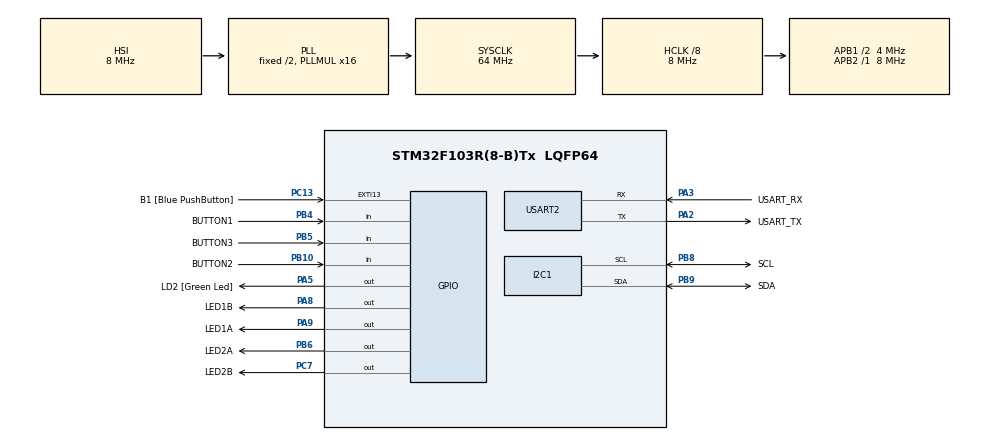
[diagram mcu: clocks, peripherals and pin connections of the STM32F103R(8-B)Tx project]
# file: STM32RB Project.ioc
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Mcu.Family=STM32F1
Mcu.Name=STM32F103R(8-B)Tx
Mcu.Package=LQFP64
NVIC.EXTI15_10_IRQn=true\:0\:0\:false\:false\:true\:true\:true
NVIC.I2C1_ER_IRQn=true\:0\:0\:false\:false\:true\:true\:true
NVIC.I2C1_EV_IRQn=true\:0\:0\:false\:false\:true\:true\:true
NVIC.PriorityGroup=NVIC_PRIORITYGROUP_4
NVIC.TIM2_IRQn=true\:0\:0\:false\:false\:true\:true\:true
PA13.GPIO_Label=TMS
PA13.Mode=Serial_Wire
PA13.Signal=SYS_JTMS-SWDIO
PA14.GPIO_Label=TCK
PA14.Mode=Serial_Wire
PA14.Signal=SYS_JTCK-SWCLK
PA2.GPIO_Label=USART_TX
PA2.GPIO_Mode=GPIO_MODE_AF_PP
PA2.GPIO_PuPd=GPIO_NOPULL
PA2.GPIO_Speed=GPIO_SPEED_FREQ_LOW
PA2.Mode=Asynchronous
PA2.Signal=USART2_TX
PA3.GPIO_Label=USART_RX
PA3.GPIO_Mode=GPIO_MODE_AF_PP
PA3.GPIO_PuPd=GPIO_NOPULL
PA3.GPIO_Speed=GPIO_SPEED_FREQ_LOW
PA3.Mode=Asynchronous
PA3.Signal=USART2_RX
PA5.GPIO_Label=LD2 [Green Led]
PA5.GPIO_ModeDefaultOutputPP=GPIO_MODE_OUTPUT_PP
PA5.GPIO_PuPd=GPIO_NOPULL
PA5.GPIO_Speed=GPIO_SPEED_FREQ_LOW
PA5.Signal=GPIO_Output
PA8.GPIO_Label=LED1B
PA8.Signal=GPIO_Output
PA9.GPIO_Label=LED1A
PA9.Signal=GPIO_Output
PB10.GPIO_Label=BUTTON2
PB10.Signal=GPIO_Input
PB3.GPIO_Label=SWO
PB3.Signal=SYS_JTDO-TRACESWO
PB4.GPIO_Label=BUTTON1
PB4.Signal=GPIO_Input
PB5.GPIO_Label=BUTTON3
PB5.Signal=GPIO_Input
PB6.GPIO_Label=LED2A
PB6.Signal=GPIO_Output
PB8.GPIO_Label=SCL
PB8.Mode=I2C
PB8.Signal=I2C1_SCL
PB9.GPIO_Label=SDA
PB9.Mode=I2C
PB9.Signal=I2C1_SDA
PC13-TAMPER-RTC.GPIO_Label=B1 [Blue PushButton]
PC13-TAMPER-RTC.GPIO_PuPd=GPIO_NOPULL
PC13-TAMPER-RTC.Signal=GPXTI13
PC14-OSC32_IN.Mode=LSE-External-Oscillator
PC14-OSC32_IN.Signal=RCC_OSC32_IN
PC15-OSC32_OUT.Mode=LSE-External-Oscillator
PC15-OSC32_OUT.Signal=RCC_OSC32_OUT
PC7.GPIO_Label=LED2B
PC7.Signal=GPIO_Output
PD0-OSC_IN.Mode=HSE-External-Clock-Source
PD0-OSC_IN.Signal=RCC_OSC_IN
PD1-OSC_OUT.Mode=HSE-External-Clock-Source
PD1-OSC_OUT.Signal=RCC_OSC_OUT
ProjectManager.HeapSize=0x200
ProjectManager.StackSize=0x400
ProjectManager.TargetToolchain=STM32CubeIDE
RCC.AHBCLKDivider=RCC_SYSCLK_DIV8
RCC.AHBFreq_Value=8000000
RCC.APB1CLKDivider=RCC_HCLK_DIV2
RCC.APB1Freq_Value=4000000
RCC.APB1TimFreq_Value=8000000
RCC.APB2Freq_Value=8000000
RCC.APB2TimFreq_Value=8000000
RCC.HCLKFreq_Value=8000000
RCC.PLLMUL=RCC_PLL_MUL16
RCC.RTCClockSelection=RCC_RTCCLKSOURCE_LSE
RCC.SYSCLKFreq_VALUE=64000000
RCC.SYSCLKSource=RCC_SYSCLKSOURCE_PLLCLK
RCC.USBFreq_Value=64000000
TIM2.Period=9
TIM2.Prescaler=7999
USART2.VirtualMode=VM_ASYNC
VP_TIM2_VS_ClockSourceINT.Mode=Internal
board=NUCLEO-F103RB

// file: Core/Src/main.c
/* USER CODE BEGIN Header */
/**
  ******************************************************************************
  * @file           : main.c
  * @brief          : Main program body
  ******************************************************************************
  * @attention
  *
  * <h2><center>&copy; Copyright (c) 2024 STMicroelectronics.
  * All rights reserved.</center></h2>
  *
  * This software component is licensed by ST under BSD 3-Clause license,
  * the "License"; You may not use this file except in compliance with the
  * License. You may obtain a copy of the License at:
  *                        opensource.org/licenses/BSD-3-Clause
  *
  ******************************************************************************
  */
/* USER CODE END Header */
#include "main.h"

/* USER CODE BEGIN Includes */
#include "global.h"
#include "input_reading.h"
#include "fsm_automatic.h"
#include "fsm_manual.h"
#include "fsm_setting.h"
#include "timer.h"
#include "i2c-lcd.h"
#include "buffer_update.h"

/* USER CODE END Includes */

I2C_HandleTypeDef hi2c1;

TIM_HandleTypeDef htim2;

UART_HandleTypeDef huart2;

void SystemClock_Config(void);
static void MX_GPIO_Init(void);
static void MX_USART2_UART_Init(void);
static void MX_TIM2_Init(void);
static void MX_I2C1_Init(void);

int main(void)
{

  /* MCU Configuration--------------------------------------------------------*/

  /* Reset of all peripherals, Initializes the Flash interface and the Systick. */
  HAL_Init();

  /* Configure the system clock */
  SystemClock_Config();

  /* Initialize all configured peripherals */
  MX_GPIO_Init();
  MX_USART2_UART_Init();
  MX_TIM2_Init();
  MX_I2C1_Init();
  /* USER CODE BEGIN 2 */
  HAL_TIM_Base_Start_IT(&htim2);

  /* USER CODE END 2 */

  /* Infinite loop */
  /* USER CODE BEGIN WHILE */
  lcd_init();
  status = INIT;
  setTimer3(100);
  while (1)
  {
	  fsm_automatic_run();
	  fsm_manual_run();
	  fsm_setting_run();
	  lcd_update();
	  buffer_update();
    /* USER CODE END WHILE */

  }
}

void SystemClock_Config(void)
{
  RCC_OscInitTypeDef RCC_OscInitStruct = {0};
  RCC_ClkInitTypeDef RCC_ClkInitStruct = {0};

  /** Initializes the RCC Oscillators according to the specified parameters
  * in the RCC_OscInitTypeDef structure.
  */
  RCC_OscInitStruct.OscillatorType = RCC_OSCILLATORTYPE_HSI;
  RCC_OscInitStruct.HSIState = RCC_HSI_ON;
  RCC_OscInitStruct.HSICalibrationValue = RCC_HSICALIBRATION_DEFAULT;
  RCC_OscInitStruct.PLL.PLLState = RCC_PLL_ON;
  RCC_OscInitStruct.PLL.PLLSource = RCC_PLLSOURCE_HSI_DIV2;
  RCC_OscInitStruct.PLL.PLLMUL = RCC_PLL_MUL16;
  if (HAL_RCC_OscConfig(&RCC_OscInitStruct) != HAL_OK)
  {
    Error_Handler();
  }
  /** Initializes the CPU, AHB and APB buses clocks
  */
  RCC_ClkInitStruct.ClockType = RCC_CLOCKTYPE_HCLK|RCC_CLOCKTYPE_SYSCLK
                              |RCC_CLOCKTYPE_PCLK1|RCC_CLOCKTYPE_PCLK2;
  RCC_ClkInitStruct.SYSCLKSource = RCC_SYSCLKSOURCE_PLLCLK;
  RCC_ClkInitStruct.AHBCLKDivider = RCC_SYSCLK_DIV8;
  RCC_ClkInitStruct.APB1CLKDivider = RCC_HCLK_DIV2;
  RCC_ClkInitStruct.APB2CLKDivider = RCC_HCLK_DIV1;

  if (HAL_RCC_ClockConfig(&RCC_ClkInitStruct, FLASH_LATENCY_2) != HAL_OK)
  {
    Error_Handler();
  }
}

static void MX_I2C1_Init(void)
{

  hi2c1.Instance = I2C1;
  hi2c1.Init.ClockSpeed = 100000;
  hi2c1.Init.DutyCycle = I2C_DUTYCYCLE_2;
  hi2c1.Init.OwnAddress1 = 0;
  hi2c1.Init.AddressingMode = I2C_ADDRESSINGMODE_7BIT;
  hi2c1.Init.DualAddressMode = I2C_DUALADDRESS_DISABLE;
  hi2c1.Init.OwnAddress2 = 0;
  hi2c1.Init.GeneralCallMode = I2C_GENERALCALL_DISABLE;
  hi2c1.Init.NoStretchMode = I2C_NOSTRETCH_DISABLE;
  if (HAL_I2C_Init(&hi2c1) != HAL_OK)
  {
    Error_Handler();
  }

}

static void MX_TIM2_Init(void)
{

  TIM_ClockConfigTypeDef sClockSourceConfig = {0};
  TIM_MasterConfigTypeDef sMasterConfig = {0};

  htim2.Instance = TIM2;
  htim2.Init.Prescaler = 7999;
  htim2.Init.CounterMode = TIM_COUNTERMODE_UP;
  htim2.Init.Period = 9;
  htim2.Init.ClockDivision = TIM_CLOCKDIVISION_DIV1;
  htim2.Init.AutoReloadPreload = TIM_AUTORELOAD_PRELOAD_DISABLE;
  if (HAL_TIM_Base_Init(&htim2) != HAL_OK)
  {
    Error_Handler();
  }
  sClockSourceConfig.ClockSource = TIM_CLOCKSOURCE_INTERNAL;
  if (HAL_TIM_ConfigClockSource(&htim2, &sClockSourceConfig) != HAL_OK)
  {
    Error_Handler();
  }
  sMasterConfig.MasterOutputTrigger = TIM_TRGO_RESET;
  sMasterConfig.MasterSlaveMode = TIM_MASTERSLAVEMODE_DISABLE;
  if (HAL_TIMEx_MasterConfigSynchronization(&htim2, &sMasterConfig) != HAL_OK)
  {
    Error_Handler();
  }

}

static void MX_USART2_UART_Init(void)
{

  huart2.Instance = USART2;
  huart2.Init.BaudRate = 115200;
  huart2.Init.WordLength = UART_WORDLENGTH_8B;
  huart2.Init.StopBits = UART_STOPBITS_1;
  huart2.Init.Parity = UART_PARITY_NONE;
  huart2.Init.Mode = UART_MODE_TX_RX;
  huart2.Init.HwFlowCtl = UART_HWCONTROL_NONE;
  huart2.Init.OverSampling = UART_OVERSAMPLING_16;
  if (HAL_UART_Init(&huart2) != HAL_OK)
  {
    Error_Handler();
  }

}

static void MX_GPIO_Init(void)
{
  GPIO_InitTypeDef GPIO_InitStruct = {0};

  /* GPIO Ports Clock Enable */
  __HAL_RCC_GPIOC_CLK_ENABLE();
  __HAL_RCC_GPIOD_CLK_ENABLE();
  __HAL_RCC_GPIOA_CLK_ENABLE();
  __HAL_RCC_GPIOB_CLK_ENABLE();

  /*Configure GPIO pin Output Level */
  HAL_GPIO_WritePin(GPIOA, LD2_Pin|LED1B_Pin|LED1A_Pin, GPIO_PIN_RESET);

  /*Configure GPIO pin Output Level */
  HAL_GPIO_WritePin(LED2B_GPIO_Port, LED2B_Pin, GPIO_PIN_RESET);

  /*Configure GPIO pin Output Level */
  HAL_GPIO_WritePin(LED2A_GPIO_Port, LED2A_Pin, GPIO_PIN_RESET);

  /*Configure GPIO pin : B1_Pin */
  GPIO_InitStruct.Pin = B1_Pin;
  GPIO_InitStruct.Mode = GPIO_MODE_IT_RISING;
  GPIO_InitStruct.Pull = GPIO_NOPULL;
  HAL_GPIO_Init(B1_GPIO_Port, &GPIO_InitStruct);

  /*Configure GPIO pins : LD2_Pin LED1B_Pin LED1A_Pin */
  GPIO_InitStruct.Pin = LD2_Pin|LED1B_Pin|LED1A_Pin;
  GPIO_InitStruct.Mode = GPIO_MODE_OUTPUT_PP;
  GPIO_InitStruct.Pull = GPIO_NOPULL;
  GPIO_InitStruct.Speed = GPIO_SPEED_FREQ_LOW;
  HAL_GPIO_Init(GPIOA, &GPIO_InitStruct);

  /*Configure GPIO pins : BUTTON2_Pin BUTTON1_Pin BUTTON3_Pin */
  GPIO_InitStruct.Pin = BUTTON2_Pin|BUTTON1_Pin|BUTTON3_Pin;
  GPIO_InitStruct.Mode = GPIO_MODE_INPUT;
  GPIO_InitStruct.Pull = GPIO_NOPULL;
  HAL_GPIO_Init(GPIOB, &GPIO_InitStruct);

  /*Configure GPIO pin : LED2B_Pin */
  GPIO_InitStruct.Pin = LED2B_Pin;
  GPIO_InitStruct.Mode = GPIO_MODE_OUTPUT_PP;
  GPIO_InitStruct.Pull = GPIO_NOPULL;
  GPIO_InitStruct.Speed = GPIO_SPEED_FREQ_LOW;
  HAL_GPIO_Init(LED2B_GPIO_Port, &GPIO_InitStruct);

  /*Configure GPIO pin : LED2A_Pin */
  GPIO_InitStruct.Pin = LED2A_Pin;
  GPIO_InitStruct.Mode = GPIO_MODE_OUTPUT_PP;
  GPIO_InitStruct.Pull = GPIO_NOPULL;
  GPIO_InitStruct.Speed = GPIO_SPEED_FREQ_LOW;
  HAL_GPIO_Init(LED2A_GPIO_Port, &GPIO_InitStruct);

  /* EXTI interrupt init*/
  HAL_NVIC_SetPriority(EXTI15_10_IRQn, 0, 0);
  HAL_NVIC_EnableIRQ(EXTI15_10_IRQn);

}

/* USER CODE BEGIN 4 */
void HAL_TIM_PeriodElapsedCallback(TIM_HandleTypeDef *htim)
{
	if(htim->Instance == TIM2){
		button_reading();
		timerRun();
	}
}

/* USER CODE END 4 */

void Error_Handler(void)
{
  __disable_irq();
  while (1)
  {
  }
}

/************************ (C) COPYRIGHT STMicroelectronics *****END OF FILE****/
